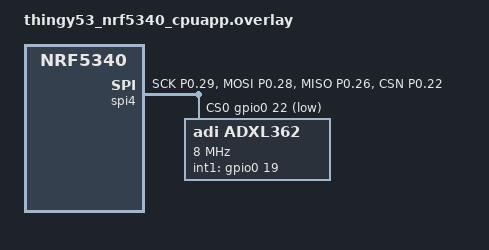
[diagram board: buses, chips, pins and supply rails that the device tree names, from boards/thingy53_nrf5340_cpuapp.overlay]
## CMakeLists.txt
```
# SPDX-License-Identifier: Apache-2.0

cmake_minimum_required(VERSION 3.20.0)

find_package(Zephyr REQUIRED HINTS $ENV{ZEPHYR_BASE})
project(adxl382_spim)

target_sources(app PRIVATE src/main.c)
```

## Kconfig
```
# Copyright (c) 2026
# SPDX-License-Identifier: Apache-2.0

DT_COMPAT_BOSCH_BMI270 := bosch,bmi270

menu "Sensor data-ready -> GPIOTE -> DPPI -> SPIM accelerometer reader"

choice APP_SENSOR
	prompt "Accelerometer on the SPI bus (chosen app,accel)"
	default APP_SENSOR_BMI270 if $(dt_compat_enabled,$(DT_COMPAT_BOSCH_BMI270))
	default APP_SENSOR_ADXL362

config APP_SENSOR_ADXL362
	bool "ADXL362 (Thingy:53)"

config APP_SENSOR_BMI270
	bool "BMI270 (nRF54L15 TAG)"

endchoice

config APP_SENSOR_ODR_HZ
	int "Sensor output data rate in Hz"
	default 400
	help
	  Rounded down to the nearest rate the sensor supports
	  (ADXL362: 12.5..400 Hz, BMI270: 25..1600 Hz). The data-ready pin
	  fires once per sample, so this is also the SPI transaction rate.

config APP_DRAIN_PERIOD_US
	int "Drain period in microseconds"
	default 10000
	range 100 1000000
	help
	  A thread wakes up every period, reads the EasyDMA pointer and pushes
	  the slots that arrived into the message queue; once per lap (every
	  APP_RING_SLOTS/2 samples or more) it also arms the ring wrap. The
	  actual period is rounded up to the kernel tick (plus one tick) and
	  the drain time is added to it. Delivery latency: at most that real
	  period when at most 4 samples arrive per drain (the drain waits one
	  transaction time so the newest one is complete); above that the
	  newest sample of each drain goes out on the next drain (real period
	  plus one sample period). Interrupts per second = 1 / period (wake-up)
	  + wraps.

config APP_RING_SLOTS
	int "Ring size in samples"
	default 256
	range 8 4096
	help
	  The wrap is armed once the DMA is past half of the ring, so the ring
	  must hold at least two drain periods of samples (ring >= 2 x rate x
	  period), plus slack for scheduling delay; 8 guard slots are added
	  after it and an overflow into them is counted.

config APP_PER_SAMPLE_IRQ
	bool "Deliver each sample from the SPIM END interrupt"
	default n
	help
	  One interrupt per transaction instead of the drain thread: a single
	  buffer, and the END ISR copies the sample that just ended into the
	  queue (latency = ISR entry + copy; ~1.2 us with the core awake, up to
	  ~15.5 us from idle on the nRF54L15 M33, ~26 us on the nRF5340). Valid
	  while the sample period exceeds the transaction time plus that entry
	  plus ~2 us (measured clean down to 40 us on both SoCs); a
	  transaction that starts during the copy is detected and the sample
	  dropped as "torn", one that starts before the ISR entry is not (the
	  data may then be mixed). No ring, no wrap; APP_DRAIN_PERIOD_US,
	  APP_RING_SLOTS and APP_WRAP_AWAKE_BELOW_US are unused.

config APP_WRAP_AWAKE_BELOW_US
	int "Wait awake for the wrap when the sample period is below this (us)"
	default 64
	range 0 10000
	depends on !APP_PER_SAMPLE_IRQ
	help
	  When the wrap is due and the recent samples were closer together than
	  this, the drain thread stays awake until the wrap ISR has run (at most
	  a quarter of the drain period or 8 sample periods) instead of going
	  back to sleep. Waking the core from idle for that IRQ costs up to
	  ~16.5 us on the nRF54L15 (RRAM) and ~24 us on the nRF5340, more than
	  one sample period at high rates. 0 disables the wait.

config APP_QUEUE_DEPTH
	int "Message queue depth in samples"
	default 256
	help
	  Must hold at least one drain's worth of samples plus the worst-case
	  consumer delay.

config APP_SPI_FREQ_HZ
	int "SPIM clock frequency in Hz"
	default 4000000

config APP_SPI_CSN_DURATION
	int "IFTIMING.CSNDUR: CSN-to-SCK delay and CSN inactive time, in SPIM core clock cycles"
	default 2
	range 1 255
	help
	  Reset value 2. nrfx raises it automatically only when it applies the
	  nRF54L errata 8 workaround (PRESCALER > 2); at higher SPI clocks it
	  may need a larger value so SCK is settled before the first edge.

config APP_SPI_RX_DELAY
	int "IFTIMING.RXDELAY: MISO sample delay (-1 = driver default)"
	default -1
	range -1 7
	help
	  Only on SPIM instances that have RXDELAY (nRF5340 SPIM4, nRF54L SPIMxx).

config APP_REPORT_PERIOD_MS
	int "Report period in milliseconds"
	default 1000

endmenu

source "Kconfig.zephyr"
```

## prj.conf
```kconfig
CONFIG_GPIO=y
CONFIG_PINCTRL=y
CONFIG_LOG=y
CONFIG_CBPRINTF_FP_SUPPORT=y

# nrfx 4.0 (NCS 3.4.x): per-driver symbols only; instances come from devicetree,
# the DPPI driver was replaced by the GPPI helper layer.
CONFIG_NRFX_GPIOTE=y
CONFIG_NRFX_SPIM=y
CONFIG_NRFX_GPPI=y

# The accelerometer bus is driven directly with nrfx: keep the Zephyr SPI and
# sensor drivers away from it.
CONFIG_SPI=n
CONFIG_SENSOR=n
CONFIG_MAIN_STACK_SIZE=4096
```

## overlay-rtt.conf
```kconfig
# Bench logging over SEGGER RTT (J-Link on the debug-out connector) instead of
# the board's USB CDC ACM console (Thingy:53). Boards without a console
# (nRF54L15 TAG) get the same settings from boards/<board>.conf.
CONFIG_BOARD_SERIAL_BACKEND_CDC_ACM=n
CONFIG_USB_DEVICE_STACK=n
CONFIG_USB_DEVICE_STACK_NEXT=n

CONFIG_USE_SEGGER_RTT=y
CONFIG_SEGGER_RTT_BUFFER_SIZE_UP=8192
CONFIG_RTT_CONSOLE=y
CONFIG_UART_CONSOLE=n
CONFIG_LOG_BACKEND_RTT=y
CONFIG_LOG_BACKEND_UART=n
CONFIG_LOG_BUFFER_SIZE=4096
# Never block the log thread when no host is draining RTT.
CONFIG_LOG_BACKEND_RTT_MODE_DROP=y
# Report lines carry several doubles; the default 768-byte log thread stack overflows (UsageFault STKOF)
CONFIG_LOG_PROCESS_THREAD_STACK_SIZE=2048
# Bench: synchronous logging (the deferred log thread stalled under the 64k sweep; see README)
CONFIG_LOG_MODE_IMMEDIATE=y
```

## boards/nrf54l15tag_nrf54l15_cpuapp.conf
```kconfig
# The TAG has no UART: log over SEGGER RTT (J-Link on the DK debug-out)
CONFIG_CONSOLE=y
CONFIG_USE_SEGGER_RTT=y
CONFIG_SEGGER_RTT_BUFFER_SIZE_UP=8192
CONFIG_RTT_CONSOLE=y
CONFIG_UART_CONSOLE=n
CONFIG_LOG_BACKEND_RTT=y
CONFIG_LOG_BACKEND_UART=n
CONFIG_LOG_BUFFER_SIZE=4096
CONFIG_LOG_BACKEND_RTT_MODE_DROP=y
CONFIG_I2C=n
# nRF54L15 errata 8 (SPIM, PRESCALER > 2, first bit 1): 8 MHz keeps PRESCALER = 2
CONFIG_APP_SPI_FREQ_HZ=8000000
# RXDELAY is in SPIM core clock cycles (16 MHz, 62.5 ns) on nRF54L; the reset
# value 2 = 125 ns = one full bit at 8 MHz, which samples the next bit.
CONFIG_APP_SPI_RX_DELAY=1
# Report lines carry several doubles; the default 768-byte log thread stack overflows (UsageFault STKOF)
CONFIG_LOG_PROCESS_THREAD_STACK_SIZE=2048
CONFIG_LOG_MODE_IMMEDIATE=y
CONFIG_NRFX_EGU20=y
CONFIG_ZERO_LATENCY_IRQS=y
```

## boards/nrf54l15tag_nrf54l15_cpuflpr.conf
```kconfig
# The TAG has no UART: log over SEGGER RTT (J-Link on the DK debug-out)
CONFIG_CONSOLE=y
CONFIG_USE_SEGGER_RTT=y
CONFIG_SEGGER_RTT_BUFFER_SIZE_UP=8192
CONFIG_RTT_CONSOLE=y
CONFIG_UART_CONSOLE=n
CONFIG_LOG_BACKEND_RTT=y
CONFIG_LOG_BACKEND_UART=n
CONFIG_LOG_BUFFER_SIZE=4096
CONFIG_LOG_BACKEND_RTT_MODE_DROP=y
CONFIG_I2C=n
# nRF54L15 errata 8 (SPIM, PRESCALER > 2, first bit 1): 8 MHz keeps PRESCALER = 2
CONFIG_APP_SPI_FREQ_HZ=8000000
# RXDELAY is in SPIM core clock cycles (16 MHz, 62.5 ns) on nRF54L; the reset
# value 2 = 125 ns = one full bit at 8 MHz, which samples the next bit.
CONFIG_APP_SPI_RX_DELAY=1
# Report lines carry several doubles; the default 768-byte log thread stack overflows (UsageFault STKOF)
CONFIG_LOG_PROCESS_THREAD_STACK_SIZE=2048
CONFIG_LOG_MODE_IMMEDIATE=y
```

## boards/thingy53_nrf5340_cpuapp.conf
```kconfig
# EGU used by the queue consumption mode (see app_dt.h) and zero-latency IRQ
# for the EasyDMA ring wrap.
CONFIG_NRFX_EGU0=y
CONFIG_ZERO_LATENCY_IRQS=y
```

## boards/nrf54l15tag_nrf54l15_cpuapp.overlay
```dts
/*
 * nRF54L15 TAG - BMI270 on spi22 (P1, PERI domain: same DPPI domain as
 * GPIOTE20 and TIMER2x, no PPIB needed). CSN is added to the board's pinctrl
 * group so the SPIM hardware chip select drives P1.07.
 */
/ {
	chosen {
		app,accel = &bmi270;
	};
};

&spi22_default {
	group1 {
		psels = <NRF_PSEL(SPIM_SCK, 1, 8)>,
			<NRF_PSEL(SPIM_MOSI, 1, 6)>,
			<NRF_PSEL(SPIM_MISO, 1, 5)>,
			<NRF_PSEL(SPIM_CSN, 1, 7)>;
	};
};

/* The other sensors share nothing with this test; keep their drivers out */
&adxl367 {
	status = "disabled";
};

&bme688 {
	status = "disabled";
};
```

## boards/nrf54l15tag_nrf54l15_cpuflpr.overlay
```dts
/*
 * nRF54L15 TAG, FLPR core - same wiring as the application core build:
 * BMI270 on spi22 (P1, PERI domain) with hardware CSN on P1.07. The board's
 * FLPR devicetree leaves spi22/bmi270 disabled, so enable them here (the
 * app drives SPIM22 with nrfx; no Zephyr SPI driver is involved).
 */
/ {
	chosen {
		app,accel = &bmi270;
	};
};

&spi22_default {
	group1 {
		psels = <NRF_PSEL(SPIM_SCK, 1, 8)>,
			<NRF_PSEL(SPIM_MOSI, 1, 6)>,
			<NRF_PSEL(SPIM_MISO, 1, 5)>,
			<NRF_PSEL(SPIM_CSN, 1, 7)>;
	};
};

&spi22 {
	status = "okay";
};

&bmi270 {
	status = "okay";
};
```

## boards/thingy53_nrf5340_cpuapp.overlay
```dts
/*
 * Thingy:53 - ADXL362. The board wires it to spi3 with a GPIO chip select;
 * on the nRF5340 only SPIM4 has hardware CSN, so the sensor is moved to a
 * spi4 node that uses the same pins plus CSN. Zephyr's SPI/sensor drivers
 * are disabled (CONFIG_SPI=n); the app drives SPIM4 with nrfx and applies
 * this node's pinctrl itself.
 */
/delete-node/ &adxl362;

/ {
	chosen {
		app,accel = &adxl362;
	};
};

&pinctrl {
	spi4_accel: spi4_accel {
		group1 {
			psels = <NRF_PSEL(SPIM_SCK, 0, 29)>,
				<NRF_PSEL(SPIM_MOSI, 0, 28)>,
				<NRF_PSEL(SPIM_MISO, 0, 26)>,
				<NRF_PSEL(SPIM_CSN, 0, 22)>;
		};
	};
};

&spi3 {
	status = "disabled";
};

&spi4 {
	status = "okay";
	pinctrl-0 = <&spi4_accel>;
	pinctrl-1 = <&spi4_accel>;
	pinctrl-names = "default", "sleep";
	cs-gpios = <&gpio0 22 GPIO_ACTIVE_LOW>;

	adxl362: adxl362@0 {
		compatible = "adi,adxl362";
		reg = <0>;
		spi-max-frequency = <8000000>;
		int1-gpios = <&gpio0 19 GPIO_ACTIVE_HIGH>;
	};
};
```

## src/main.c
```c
/*
 * gpiote_dppi_spim - accelerometer read started by its data-ready pin,
 * nRF Connect SDK v3.4.1
 *
 *   sensor INT pin --GPIOTE IN event--DPPI--> SPIM START
 *   SPIM (hardware CSN, EasyDMA, RX pointer post-increment) fills a ring;
 *   a drain thread moves the new slots to a k_msgq every APP_DRAIN_PERIOD_US.
 *
 * The board overlay selects sensor, bus and pins (see app_dt.h); Kconfig
 * selects the drain period and the ring size. This file only reports.
 */
#include <zephyr/kernel.h>
#include <zephyr/logging/log.h>

#include "sensor.h"
#include "spim_dppi.h"

LOG_MODULE_REGISTER(app, LOG_LEVEL_INF);

#define G_MS2 9.80665f

static float to_ms2(int16_t raw)
{
	return raw * sensor->mg_per_lsb * G_MS2 / 1000.0f;
}

/* Per-report window statistics */
struct stats {
	uint32_t n, fresh;
	int16_t zmin, zmax;
	int32_t zsum;
};

static void stats_reset(struct stats *s)
{
	s->n = s->fresh = 0;
	s->zmin = INT16_MAX;
	s->zmax = INT16_MIN;
	s->zsum = 0;
}

static struct stats win;

/* Drain the queue for one report period, then print the window statistics */
static void run_window(uint32_t *elapsed_ms)
{
	uint8_t raw[SENSOR_BURST_LEN];
	struct sensor_sample s;
	int64_t end = k_uptime_get() + CONFIG_APP_REPORT_PERIOD_MS;

	while (k_uptime_get() < end) {
		/* One sample per get, in order; the drain thread (or the END ISR) fills it */
		if (k_msgq_get(&sample_q, raw, K_MSEC(5)) != 0) {
			continue;
		}
		sensor->decode(raw, &s);
		win.n++;
		win.fresh += s.fresh;
		win.zmin = MIN(win.zmin, s.z);
		win.zmax = MAX(win.zmax, s.z);
		win.zsum += s.z;
	}
	*elapsed_ms += CONFIG_APP_REPORT_PERIOD_MS;
	LOG_INF("t=%u ms xfers=%u queued=%u fresh=%u dropped=%u late=%u ovf=%u torn=%u Z avg=%.2f min=%.2f max=%.2f m/s^2",
		*elapsed_ms, spim_dppi_total_xfers(), win.n, win.fresh,
		spim_dppi_dropped(), spim_dppi_late_wraps(), spim_dppi_overflows(), spim_dppi_torn(),
		win.n ? (double)to_ms2(win.zsum / (int32_t)win.n) : 0.0,
		win.n ? (double)to_ms2(win.zmin) : 0.0, win.n ? (double)to_ms2(win.zmax) : 0.0);
	stats_reset(&win);
}

int main(void)
{
	int err;
	uint32_t elapsed_ms = 0;

#if defined(CONFIG_APP_PER_SAMPLE_IRQ)
	LOG_INF("gpiote_dppi_spim: %s, trigger=data-ready pin, one interrupt per sample", sensor->name);
#else
	LOG_INF("gpiote_dppi_spim: %s, trigger=data-ready pin, drain every %u us", sensor->name,
		CONFIG_APP_DRAIN_PERIOD_US);
#endif

	err = spim_dppi_init();
	if (err) {
		LOG_ERR("init failed (%d)", err);
		return err;
	}
	LOG_INF("%s ODR %u.%u Hz", sensor->name, sensor_odr_hz_x10() / 10, sensor_odr_hz_x10() % 10);

	err = spim_dppi_start();
	if (err) {
		LOG_ERR("start failed (%d)", err);
		return err;
	}

	stats_reset(&win);
	while (1) {
		run_window(&elapsed_ms);
	}
	return 0;
}
```

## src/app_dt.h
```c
/*
 * Everything board specific comes from the devicetree, through chosen nodes
 * set by the board overlay:
 *   app,accel        the accelerometer node on its SPI bus (int1-gpios /
 *                    irq-gpios = data-ready pin, cs-gpios on the bus = CSN)
 */
#ifndef APP_DT_H_
#define APP_DT_H_

#include <zephyr/devicetree.h>
#include <zephyr/dt-bindings/gpio/gpio.h>

#define ACCEL_NODE      DT_CHOSEN(app_accel)
#define BUS_NODE        DT_BUS(ACCEL_NODE)


BUILD_ASSERT(DT_NODE_EXISTS(ACCEL_NODE), "chosen app,accel is missing in the board overlay");
BUILD_ASSERT(DT_NODE_HAS_PROP(BUS_NODE, cs_gpios), "the SPI bus needs cs-gpios (hardware CSN pin)");

/* Absolute nRF pin number (port * 32 + pin) of a gpio phandle-array entry */
#define NRF_PIN_ABS(node, prop) \
	(DT_PROP(DT_GPIO_CTLR(node, prop), port) * 32 + DT_GPIO_PIN(node, prop))

#define CS_PIN_ABS NRF_PIN_ABS(BUS_NODE, cs_gpios)

/* Data-ready pin: adi,adxl362 calls it int1-gpios, bosch,bmi270 irq-gpios */
#if DT_NODE_HAS_PROP(ACCEL_NODE, int1_gpios)
#define INT_GPIO_PROP int1_gpios
#elif DT_NODE_HAS_PROP(ACCEL_NODE, irq_gpios)
#define INT_GPIO_PROP irq_gpios
#else
#error "the chosen app,accel node needs int1-gpios or irq-gpios (data-ready pin)"
#endif

#define INT_PIN_ABS     NRF_PIN_ABS(ACCEL_NODE, INT_GPIO_PROP)
#define INT_ACTIVE_LOW  ((DT_GPIO_FLAGS(ACCEL_NODE, INT_GPIO_PROP) & GPIO_ACTIVE_LOW) != 0)
/* GPIOTE instance serving the port of the data-ready pin (gpiote-instance) */
#define INT_GPIOTE_NODE DT_PHANDLE(DT_GPIO_CTLR(ACCEL_NODE, INT_GPIO_PROP), gpiote_instance)

#endif /* APP_DT_H_ */
```

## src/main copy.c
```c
#include <zephyr/kernel.h>
#include <zephyr/logging/log.h>
#include <nrfx_spim.h>
#include <nrfx_gpiote.h>
#include <helpers/nrfx_gppi.h>
#include <hal/nrf_gpio.h>
#include <hal/nrf_gpiote.h>

LOG_MODULE_REGISTER(adxl382, LOG_LEVEL_DBG);

// SPI3 hardware instance
#define SPIM_INST NRFX_SPIM_INSTANCE(3)

// SPI CS pin
#define ADXL382_CS_PIN 22
#define ADXL382_INT_PIN 19
#define SPIM_SCK 29
#define SPIM_MOSI 28
#define SPIM_MISO 26

// Button SW0 pin for Thingy53
#define BUTTON_SW0_PIN  NRF_GPIO_PIN_MAP(1, 14)  // P1.14
#define LED0_PIN        NRF_GPIO_PIN_MAP(1, 8) // P1.8

// ADXL382 register address for DEVID (Chip ID)
#define ADXL362_CMD_WRITE_REG   0x0A
#define ADXL362_CMD_READ_REG    0x0B
#define ADXL362_REG_DEVID_AD    0x00

#define ADXL362_REG_POWER_CTL  0x2D
#define ADXL362_MEASURE_MODE   0x02

#define ADXL362_REG_XDATA_L   0x0E
#define ADXL362_REG_YDATA_L   0x10
#define ADXL362_REG_ZDATA_L   0x12

#define GRAVITY_M_S2 9.80665f

static const nrfx_spim_t spim = SPIM_INST;

// SPI transfer buffers for accelerometer reading
static uint8_t spi_tx_buf[8] = {
    ADXL362_CMD_READ_REG,
    ADXL362_REG_XDATA_L, // First register address
    0x00, 0x00, 0x00, 0x00, 0x00, 0x00 // Dummy
};
static uint8_t spi_rx_buf[8] = {0};

//Create semaphore for SPIM transfer
static K_SEM_DEFINE(spim_sem, 0, 1);


int prepare_spim_transfer(void);
// SPIM event handler - called when SPI transfer completes
static void spim_handler(nrfx_spim_evt_t const *p_event, void *p_context)
{

    if (p_event->type == NRFX_SPIM_EVENT_DONE) {

        k_sem_give(&spim_sem); // Signal that transfer is done
        // // Process the received accelerometer data
        // uint8_t axl = spi_rx_buf[2]; // X low byte
        // uint8_t axh = spi_rx_buf[3]; // X high byte
        // uint8_t ayl = spi_rx_buf[4]; // Y low byte
        // uint8_t ayh = spi_rx_buf[5]; // Y high byte
        // uint8_t azl = spi_rx_buf[6]; // Z low byte
        // uint8_t azh = spi_rx_buf[7]; // Z high byte

        // int16_t ax = ((int16_t)axh << 8) | axl;  // Combine bytes
        // float ax_mg = ax * 1.0f; // Convert to mg
        // float ax_ms2 = ax_mg * GRAVITY_M_S2 / 1000.0f; // Convert to m/s^2

        // int16_t ay = (int16_t)((ayh << 8) | ayl);  
        // float ay_mg = ay * 1.0f; // Convert to mg
        // float ay_ms2 = ay_mg * GRAVITY_M_S2 / 1000.0f; // Convert to m/s^2

        // int16_t az = (int16_t)((azh << 8) | azl);  
        // float az_mg = az * 1.0f; // Convert to mg
        // float az_ms2 = az_mg * GRAVITY_M_S2 / 1000.0f; // Convert to m/s^2

        // LOG_INF("SPIM task-triggered read complete!");
        // LOG_INF("Accel [m/s^2]: X=%.2f Y=%.2f Z=%.2f", (double)ax_ms2, (double)ay_ms2, (double)az_ms2);
        
        // // Deassert CS after transfer
        // nrf_gpio_pin_set(ADXL382_CS_PIN);
        
        // // Prepare the next transfer for the next button press
        // // Small delay to ensure proper timing
        // //k_busy_wait(100); // 100 microseconds
        // prepare_spim_transfer();
    }
}

int adxl362_read_reg(uint8_t reg, uint8_t *value)
{
    uint8_t tx_buf[3] = {
        ADXL362_CMD_READ_REG,
        reg,
        0x00 // Dummy
    };
    uint8_t rx_buf[3] = {0};

    // LOG_HEXDUMP_DBG(tx_buf, sizeof(tx_buf), "TX Buffer");
    // LOG_HEXDUMP_DBG(rx_buf, sizeof(rx_buf), "RX Buffer (before)");

    nrfx_spim_xfer_desc_t xfer = {
        .p_tx_buffer = tx_buf,
        .tx_length = sizeof(tx_buf),
        .p_rx_buffer = rx_buf,
        .rx_length = sizeof(rx_buf),
    };

    nrf_gpio_pin_clear(ADXL382_CS_PIN); // assert CS

    int ret = nrfx_spim_xfer(&spim, &xfer, 0);
    if (ret == NRFX_SUCCESS) {
        *value = rx_buf[2]; // O valor lido está na terceira posição
        LOG_DBG("*value = %xh", rx_buf[2]);
    }

    //k_sem_take(&spim_sem, K_FOREVER); // Wait for transfer to complete
    // LOG_HEXDUMP_DBG(rx_buf, sizeof(rx_buf), "RX Buffer (after)");
    nrf_gpio_pin_set(ADXL382_CS_PIN); // deassert CS
    return ret;
}


int adxl362_write_reg(uint8_t reg, uint8_t value)
{
    uint8_t tx_buf[3] = {
        ADXL362_CMD_WRITE_REG,
        reg,
        value
    };
    uint8_t rx_buf[3] = {0};

    nrfx_spim_xfer_desc_t xfer = {
        .p_tx_buffer = tx_buf,
        .tx_length = sizeof(tx_buf),
        .p_rx_buffer = rx_buf,
        .rx_length = sizeof(rx_buf),
    };

    // LOG_HEXDUMP_DBG(tx_buf, sizeof(tx_buf), "TX Buffer");
    // LOG_HEXDUMP_DBG(rx_buf, sizeof(rx_buf), "RX Buffer (before)");

    nrf_gpio_pin_clear(ADXL382_CS_PIN); // assert CS

    int ret = nrfx_spim_xfer(&spim, &xfer, 0);
    if (ret == NRFX_SUCCESS) {
        LOG_DBG("Wrote reg 0x%02X: 0x%02X", reg, value);
    }
    nrf_gpio_pin_set(ADXL382_CS_PIN); // deassert CS

    // LOG_HEXDUMP_DBG(rx_buf, sizeof(rx_buf), "RX Buffer (after)");

    return ret;
}

int adxl362_init()
{
 // Configure CS pin manually

     IRQ_CONNECT(NRFX_IRQ_NUMBER_GET(NRF_SPIM_INST_GET(3)), IRQ_PRIO_LOWEST,
                NRFX_SPIM_INST_HANDLER_GET(3), 0, 0);

    nrf_gpio_cfg_output(ADXL382_CS_PIN);
    nrf_gpio_pin_set(ADXL382_CS_PIN); // inactive

    nrfx_spim_config_t config = NRFX_SPIM_DEFAULT_CONFIG(SPIM_SCK,
                                                            SPIM_MOSI,
                                                            SPIM_MISO,
                                                            NRF_SPIM_PIN_NOT_CONNECTED);
    
	nrfx_err_t err = nrfx_spim_init(&spim, &config, spim_handler, NULL);
    //nrfx_err_t err = nrfx_spim_init(&spim, &config, NULL, NULL);
	if (err != NRFX_SUCCESS) {
		LOG_WRN("Failed to init SPIM, error: 0x%08X", err);
		return -1;
	}
    LOG_INF("ADXL362 SPI initialized successfully");

    // Configure INT pin
    nrf_gpio_cfg_input(ADXL382_INT_PIN, NRF_GPIO_PIN_PULLUP);
    LOG_INF("ADXL362 INT pin configured");

    return 0;
}


// Button event handler
static void button_handler(nrfx_gpiote_pin_t pin,
                          nrfx_gpiote_trigger_t trigger,
                          void *context)
{
    LOG_INF("Button SW0 pressed - triggering accel read");
}

// Function to read accelerometer data
int prepare_spim_transfer(void)
{
    
    // LOG_HEXDUMP_DBG(spi_tx_buf, sizeof(spi_tx_buf), "TX Buffer");
	
    // Assert CS before transfer
    nrf_gpio_pin_clear(ADXL382_CS_PIN);

    nrfx_spim_xfer_desc_t xfer = {
        .p_tx_buffer = spi_tx_buf,
        .tx_length = sizeof(spi_tx_buf),
        .p_rx_buffer = spi_rx_buf,
        .rx_length = sizeof(spi_rx_buf),
    };

    // Configure the transfer
    nrfx_err_t err = nrfx_spim_xfer(&spim, &xfer, NRFX_SPIM_FLAG_HOLD_XFER);
    if (err != NRFX_SUCCESS) {
        LOG_ERR("Failed to prepare SPIM transfer (err 0x%08X)", err);
        nrf_gpio_pin_set(ADXL382_CS_PIN); // Release CS on error
        return -1;
    }
    
    LOG_DBG("SPIM transfer prepared and ready for task trigger");
    return 0;
}

// Function to initialize button
int button_init(void)
{
    nrfx_err_t err;
    uint8_t in_channel;
    static const nrfx_gpiote_t gpiote = NRFX_GPIOTE_INSTANCE(0);

    // Initialize GPIOTE if not already done
    #if !defined(CONFIG_GPIO)
    err = nrfx_gpiote_init(&gpiote, 0);
    if (err != NRFX_SUCCESS) {
        LOG_ERR("Failed to initialize GPIOTE (err 0x%08X)", err);
        return -1;
    }
    #endif

    // Allocate a channel for the input pin
    err = nrfx_gpiote_channel_alloc(&gpiote, &in_channel);
    if (err != NRFX_SUCCESS) {
        LOG_ERR("Failed to allocate channel (err 0x%08X)", err);
        return -1;
    }

    // Configure button pin
    static const nrf_gpio_pin_pull_t pull_config = NRF_GPIO_PIN_PULLUP;
    nrfx_gpiote_trigger_config_t trigger_config = {
        .trigger = NRFX_GPIOTE_TRIGGER_HITOLO, // Button press (high to low)
        .p_in_channel = &in_channel,
    };
    static const nrfx_gpiote_handler_config_t handler_config = {
        .handler = button_handler,
    };
    nrfx_gpiote_input_pin_config_t input_config = {
        .p_pull_config    = &pull_config,
        .p_trigger_config = &trigger_config,
        .p_handler_config = &handler_config
    };

    err = nrfx_gpiote_input_configure(&gpiote, BUTTON_SW0_PIN, &input_config);
    if (err != NRFX_SUCCESS) {
        LOG_ERR("Failed to configure button pin (err 0x%08X)", err);
        return -1;
    }

    // Enable the input trigger
    nrfx_gpiote_trigger_enable(&gpiote, BUTTON_SW0_PIN, true);

    LOG_INF("Button SW0 initialized");
    return 0;
}


int led_init(void)
{
	nrfx_err_t err;
    uint8_t out_channel;
    static const nrfx_gpiote_t gpiote = NRFX_GPIOTE_INSTANCE(0);

	/* Allocate a channel for the output pin */
	err = nrfx_gpiote_channel_alloc(&gpiote, &out_channel);
	if (err != NRFX_SUCCESS) {
		LOG_ERR("Failed to allocate out_channel, error: 0x%08X", err);
		return err;
	}

	static const nrfx_gpiote_output_config_t output_config = {
		.drive         = NRF_GPIO_PIN_S0S1,
		.input_connect = NRF_GPIO_PIN_INPUT_DISCONNECT,
		.pull          = NRF_GPIO_PIN_NOPULL,
	};
	const nrfx_gpiote_task_config_t task_config = {
		.task_ch  = out_channel,
		.polarity = NRF_GPIOTE_POLARITY_TOGGLE,
		.init_val = 1,
	};

	err = nrfx_gpiote_output_configure(&gpiote, LED0_PIN, &output_config,
					   &task_config);
	if (err != NRFX_SUCCESS) {
		LOG_ERR("nrfx_gpiote_output_configure error: 0x%08X", err);
		return err;
	}

	/* Enable the output task */
	nrfx_gpiote_out_task_enable(&gpiote, LED0_PIN);
	return NRFX_SUCCESS;
}

int configure_dppi(void)
{
	nrfx_err_t err;
	uint8_t ppi_channel;
    static const nrfx_gpiote_t gpiote = NRFX_GPIOTE_INSTANCE(0);

	/* Allocate a DPPI channel */
	err = nrfx_gppi_channel_alloc(&ppi_channel);
	if (err != NRFX_SUCCESS) {
		LOG_ERR("nrfx_gppi_channel_alloc error: 0x%08X", err);
		return err;
	}

	/* Setup endpoints so that the input pin event triggers the output pin task */
	nrfx_gppi_channel_endpoints_setup(ppi_channel,
		nrfx_gpiote_in_event_address_get(&gpiote, BUTTON_SW0_PIN),
		nrfx_gpiote_out_task_address_get(&gpiote, LED0_PIN));

    //nrfx_gppi_task_endpoint_setup(ppi_channel, nrfx_spim_start_task_address_get(&spim));
	/* Enable the DPPI channel */
	nrfx_gppi_channels_enable(BIT(ppi_channel));
    LOG_INF("DPPI configured: Button SW0 -> LED0 toggle");
	return NRFX_SUCCESS;
}


int main(void)
{

    int ret;
    uint8_t devid = 0;

    LOG_INF("Starting ADXL382 SPI test");

    adxl362_init();

    ret = adxl362_read_reg(ADXL362_REG_DEVID_AD, &devid);
    if (ret == NRFX_SUCCESS) {
        LOG_INF("ADXL362 Device ID: 0x%02X", devid);
        if (devid != 0xAD) {
            LOG_WRN("Unexpected device ID!");
        }
    } else {
        LOG_ERR("Failed to read from ADXL362 (err %d)", ret);
    }

    ret = adxl362_write_reg(ADXL362_REG_POWER_CTL, ADXL362_MEASURE_MODE);
    if (ret == NRFX_SUCCESS) {
        LOG_INF("Measurement mode enabled");
        k_msleep(10);  // Pequeno delay para o sensor estabilizar
    } else {
        LOG_ERR("Failed to set measurement mode");
    }

    uint8_t power_ctl;
    adxl362_read_reg(ADXL362_REG_POWER_CTL, &power_ctl);
    LOG_INF("POWER_CTL = 0x%02X", power_ctl);

    // Initialize button
    ret = button_init();
    if (ret != 0) {
        LOG_ERR("Failed to initialize button");
        return ret;
    }

    ret = led_init();
    if (ret != NRFX_SUCCESS) {
        LOG_ERR("Failed to initialize LED");
        return ret;
    }

    //prepare_spim_transfer();

    ret = configure_dppi();
    if (ret != NRFX_SUCCESS) {
        LOG_ERR("Failed to configure DPPI");
        return ret;
    }

    LOG_INF("System ready. Press SW0 button to read accelerometer data");

	return 0;
}
```

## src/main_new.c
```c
#include <zephyr/kernel.h>
#include <zephyr/logging/log.h>
#include <nrfx_spim.h>
#include <nrfx_gpiote.h>
#include <helpers/nrfx_gppi.h>
#include <hal/nrf_gpio.h>
#include <hal/nrf_gpiote.h>
#include <string.h>

LOG_MODULE_REGISTER(adxl382, LOG_LEVEL_INF);

// SPI3 hardware instance
#define SPIM_INST NRFX_SPIM_INSTANCE(3)

// SPI CS pin
#define ADXL382_CS_PIN 22
#define ADXL382_INT_PIN 19
#define SPIM_SCK 29
#define SPIM_MOSI 28
#define SPIM_MISO 26

// Button SW0 pin for Thingy53
#define BUTTON_SW0_PIN  NRF_GPIO_PIN_MAP(1, 14)  // P1.14
#define LED0_PIN        NRF_GPIO_PIN_MAP(1, 8) // P1.8

// ADXL382 register address for DEVID (Chip ID)
#define ADXL362_CMD_WRITE_REG   0x0A
#define ADXL362_CMD_READ_REG    0x0B
#define ADXL362_REG_DEVID_AD    0x00

#define ADXL362_REG_POWER_CTL  0x2D
#define ADXL362_MEASURE_MODE   0x02

#define ADXL362_REG_XDATA_L   0x0E
#define ADXL362_REG_YDATA_L   0x10
#define ADXL362_REG_ZDATA_L   0x12

#define GRAVITY_M_S2 9.80665f

static const nrfx_spim_t spim = SPIM_INST;

// Global variable to track button press
static volatile bool button_pressed = false;

// SPI transfer buffers for accelerometer reading
static uint8_t spi_tx_buf[8] = {
    ADXL362_CMD_READ_REG,
    ADXL362_REG_XDATA_L, // First register address
    0x00, 0x00, 0x00, 0x00, 0x00, 0x00 // Dummy
};
static uint8_t spi_rx_buf[8] = {0};

int prepare_spim_transfer(void);

// SPIM event handler - called when SPI transfer completes
static void spim_handler(nrfx_spim_evt_t const *p_event, void *p_context)
{
    if (p_event->type == NRFX_SPIM_EVENT_DONE) {
        // Process the received accelerometer data
        uint8_t axl = spi_rx_buf[2]; // X low byte
        uint8_t axh = spi_rx_buf[3]; // X high byte
        uint8_t ayl = spi_rx_buf[4]; // Y low byte
        uint8_t ayh = spi_rx_buf[5]; // Y high byte
        uint8_t azl = spi_rx_buf[6]; // Z low byte
        uint8_t azh = spi_rx_buf[7]; // Z high byte

        int16_t ax = ((int16_t)axh << 8) | axl;  // Combine bytes
        float ax_mg = ax * 1.0f; // Convert to mg
        float ax_ms2 = ax_mg * GRAVITY_M_S2 / 1000.0f; // Convert to m/s^2

        int16_t ay = (int16_t)((ayh << 8) | ayl);  
        float ay_mg = ay * 1.0f; // Convert to mg
        float ay_ms2 = ay_mg * GRAVITY_M_S2 / 1000.0f; // Convert to m/s^2

        int16_t az = (int16_t)((azh << 8) | azl);  
        float az_mg = az * 1.0f; // Convert to mg
        float az_ms2 = az_mg * GRAVITY_M_S2 / 1000.0f; // Convert to m/s^2

        LOG_INF("SPIM task-triggered read complete!");
        LOG_INF("Accel [m/s^2]: X=%.2f Y=%.2f Z=%.2f", (double)ax_ms2, (double)ay_ms2, (double)az_ms2);
        
        // Deassert CS after transfer
        nrf_gpio_pin_set(ADXL382_CS_PIN);
        
        // Prepare the next transfer for the next button press
        // Small delay to ensure proper timing
        k_busy_wait(100); // 100 microseconds
        prepare_spim_transfer();
    }
}

int adxl362_read_reg(uint8_t reg, uint8_t *value)
{
    uint8_t tx_buf[3] = {
        ADXL362_CMD_READ_REG,
        reg,
        0x00 // Dummy
    };
    uint8_t rx_buf[3] = {0};

    LOG_HEXDUMP_DBG(tx_buf, sizeof(tx_buf), "TX Buffer");
    LOG_HEXDUMP_DBG(rx_buf, sizeof(rx_buf), "RX Buffer (before)");

    nrfx_spim_xfer_desc_t xfer = {
        .p_tx_buffer = tx_buf,
        .tx_length = sizeof(tx_buf),
        .p_rx_buffer = rx_buf,
        .rx_length = sizeof(rx_buf),
    };

    nrf_gpio_pin_clear(ADXL382_CS_PIN); // assert CS

    int ret = nrfx_spim_xfer(&spim, &xfer, 0);
    if (ret == NRFX_SUCCESS) {
        *value = rx_buf[2]; // O valor lido está na terceira posição
        LOG_DBG("*value = %xh", rx_buf[2]);
    }
    LOG_HEXDUMP_DBG(rx_buf, sizeof(rx_buf), "RX Buffer (after)");
    nrf_gpio_pin_set(ADXL382_CS_PIN); // deassert CS
    return ret;
}


int adxl362_write_reg(uint8_t reg, uint8_t value)
{
    uint8_t tx_buf[3] = {
        ADXL362_CMD_WRITE_REG,
        reg,
        value
    };
    uint8_t rx_buf[3] = {0};

    nrfx_spim_xfer_desc_t xfer = {
        .p_tx_buffer = tx_buf,
        .tx_length = sizeof(tx_buf),
        .p_rx_buffer = rx_buf,
        .rx_length = sizeof(rx_buf),
    };

    LOG_HEXDUMP_DBG(tx_buf, sizeof(tx_buf), "TX Buffer");
    LOG_HEXDUMP_DBG(rx_buf, sizeof(rx_buf), "RX Buffer (before)");

    nrf_gpio_pin_clear(ADXL382_CS_PIN); // assert CS

    int ret = nrfx_spim_xfer(&spim, &xfer, 0);
    if (ret == NRFX_SUCCESS) {
        LOG_DBG("Wrote reg 0x%02X: 0x%02X", reg, value);
    }
    nrf_gpio_pin_set(ADXL382_CS_PIN); // deassert CS

    LOG_HEXDUMP_DBG(rx_buf, sizeof(rx_buf), "RX Buffer (after)");

    return ret;
}

int adxl362_init()
{
 // Configure CS pin manually
    nrf_gpio_cfg_output(ADXL382_CS_PIN);
    nrf_gpio_pin_set(ADXL382_CS_PIN); // inactive

    nrfx_spim_config_t config = NRFX_SPIM_DEFAULT_CONFIG(SPIM_SCK,
                                                            SPIM_MOSI,
                                                            SPIM_MISO,
                                                            NRF_SPIM_PIN_NOT_CONNECTED);

	nrfx_err_t err = nrfx_spim_init(&spim, &config, spim_handler, NULL);
	if (err != NRFX_SUCCESS) {
		LOG_WRN("Failed to init SPIM, error: 0x%08X", err);
		return -1;
	}
    LOG_INF("ADXL362 SPI initialized successfully with event handler");

    // Configure INT pin
    nrf_gpio_cfg_input(ADXL382_INT_PIN, NRF_GPIO_PIN_PULLUP);
    LOG_INF("ADXL362 INT pin configured");

    return 0;
}


// Function to prepare SPIM transfer for task triggering
int prepare_spim_transfer(void)
{
    // Clear receive buffer
    memset(spi_rx_buf, 0, sizeof(spi_rx_buf));
    
    // Assert CS before transfer
    nrf_gpio_pin_clear(ADXL382_CS_PIN);
    
    // Set up the SPI transfer descriptor
    nrfx_spim_xfer_desc_t xfer_desc = {
        .p_tx_buffer = spi_tx_buf,
        .tx_length = sizeof(spi_tx_buf),
        .p_rx_buffer = spi_rx_buf,
        .rx_length = sizeof(spi_rx_buf),
    };
    
    // Configure the transfer - it will be started by the SPIM start task
    nrfx_err_t err = nrfx_spim_xfer(&spim, &xfer_desc, 0);
    if (err != NRFX_SUCCESS) {
        LOG_ERR("Failed to prepare SPIM transfer (err 0x%08X)", err);
        nrf_gpio_pin_set(ADXL382_CS_PIN); // Release CS on error
        return -1;
    }
    
    LOG_DBG("SPIM transfer prepared and ready for task trigger");
    return 0;
}

// Button event handler
static void button_handler(nrfx_gpiote_pin_t pin,
                          nrfx_gpiote_trigger_t trigger,
                          void *context)
{
    button_pressed = true;
    LOG_INF("Button SW0 pressed - GPIOTE event will trigger LED + SPIM via GPPI!");
}


// Function to initialize button
int button_init(void)
{
    nrfx_err_t err;
    uint8_t in_channel;
    static const nrfx_gpiote_t gpiote = NRFX_GPIOTE_INSTANCE(0);

    // Initialize GPIOTE if not already done
    #if !defined(CONFIG_GPIO)
    err = nrfx_gpiote_init(&gpiote, 0);
    if (err != NRFX_SUCCESS) {
        LOG_ERR("Failed to initialize GPIOTE (err 0x%08X)", err);
        return -1;
    }
    #endif

    // Allocate a channel for the input pin
    err = nrfx_gpiote_channel_alloc(&gpiote, &in_channel);
    if (err != NRFX_SUCCESS) {
        LOG_ERR("Failed to allocate channel (err 0x%08X)", err);
        return -1;
    }

    // Configure button pin
    static const nrf_gpio_pin_pull_t pull_config = NRF_GPIO_PIN_PULLUP;
    nrfx_gpiote_trigger_config_t trigger_config = {
        .trigger = NRFX_GPIOTE_TRIGGER_HITOLO, // Button press (high to low)
        .p_in_channel = &in_channel,
    };
    static const nrfx_gpiote_handler_config_t handler_config = {
        .handler = button_handler,
    };
    nrfx_gpiote_input_pin_config_t input_config = {
        .p_pull_config    = &pull_config,
        .p_trigger_config = &trigger_config,
        .p_handler_config = &handler_config
    };

    err = nrfx_gpiote_input_configure(&gpiote, BUTTON_SW0_PIN, &input_config);
    if (err != NRFX_SUCCESS) {
        LOG_ERR("Failed to configure button pin (err 0x%08X)", err);
        return -1;
    }

    // Enable the input trigger
    nrfx_gpiote_trigger_enable(&gpiote, BUTTON_SW0_PIN, true);

    LOG_INF("Button SW0 initialized");
    return 0;
}


int led_init(void)
{
	nrfx_err_t err;
    uint8_t out_channel;
    static const nrfx_gpiote_t gpiote = NRFX_GPIOTE_INSTANCE(0);

	/* Allocate a channel for the output pin */
	err = nrfx_gpiote_channel_alloc(&gpiote, &out_channel);
	if (err != NRFX_SUCCESS) {
		LOG_ERR("Failed to allocate out_channel, error: 0x%08X", err);
		return err;
	}

	static const nrfx_gpiote_output_config_t output_config = {
		.drive         = NRF_GPIO_PIN_S0S1,
		.input_connect = NRF_GPIO_PIN_INPUT_DISCONNECT,
		.pull          = NRF_GPIO_PIN_NOPULL,
	};
	const nrfx_gpiote_task_config_t task_config = {
		.task_ch  = out_channel,
		.polarity = NRF_GPIOTE_POLARITY_TOGGLE,
		.init_val = 1,
	};

	err = nrfx_gpiote_output_configure(&gpiote, LED0_PIN, &output_config,
					   &task_config);
	if (err != NRFX_SUCCESS) {
		LOG_ERR("nrfx_gpiote_output_configure error: 0x%08X", err);
		return err;
	}

	/* Enable the output task */
	nrfx_gpiote_out_task_enable(&gpiote, LED0_PIN);
	return NRFX_SUCCESS;
}

int configure_dppi(void)
{
	nrfx_err_t err;
	uint8_t ppi_channel_led, ppi_channel_spim;
    static const nrfx_gpiote_t gpiote = NRFX_GPIOTE_INSTANCE(0);

	/* Allocate first DPPI channel for LED toggle */
	err = nrfx_gppi_channel_alloc(&ppi_channel_led);
	if (err != NRFX_SUCCESS) {
		LOG_ERR("nrfx_gppi_channel_alloc (LED) error: 0x%08X", err);
		return err;
	}

	/* Allocate second DPPI channel for SPIM start task */
	err = nrfx_gppi_channel_alloc(&ppi_channel_spim);
	if (err != NRFX_SUCCESS) {
		LOG_ERR("nrfx_gppi_channel_alloc (SPIM) error: 0x%08X", err);
		return err;
	}

	/* Setup first connection: button press -> LED toggle */
	nrfx_gppi_channel_endpoints_setup(ppi_channel_led,
		nrfx_gpiote_in_event_address_get(&gpiote, BUTTON_SW0_PIN),
		nrfx_gpiote_out_task_address_get(&gpiote, LED0_PIN));

	/* Setup second connection: button press -> SPIM start task */
	nrfx_gppi_channel_endpoints_setup(ppi_channel_spim,
		nrfx_gpiote_in_event_address_get(&gpiote, BUTTON_SW0_PIN),
		nrfx_spim_start_task_address_get(&spim));

	/* Enable both DPPI channels */
	nrfx_gppi_channels_enable(BIT(ppi_channel_led) | BIT(ppi_channel_spim));
	
    LOG_INF("DPPI configured: Button SW0 -> LED0 toggle + SPIM start task");
    LOG_INF("GPPI channel %d: Button -> LED", ppi_channel_led);
    LOG_INF("GPPI channel %d: Button -> SPIM", ppi_channel_spim);
	return NRFX_SUCCESS;
}


int main(void)
{

    int ret;
    uint8_t devid = 0;

    LOG_INF("Starting ADXL382 SPI test");

    adxl362_init();

    ret = adxl362_read_reg(ADXL362_REG_DEVID_AD, &devid);
    if (ret == NRFX_SUCCESS) {
        LOG_INF("ADXL362 Device ID: 0x%02X", devid);
        if (devid != 0xAD) {
            LOG_WRN("Unexpected device ID!");
        }
    } else {
        LOG_ERR("Failed to read from ADXL362 (err %d)", ret);
    }

    ret = adxl362_write_reg(ADXL362_REG_POWER_CTL, ADXL362_MEASURE_MODE);
    if (ret == NRFX_SUCCESS) {
        LOG_INF("Measurement mode enabled");
        k_msleep(10);  // Pequeno delay para o sensor estabilizar
    } else {
        LOG_ERR("Failed to set measurement mode");
    }

    uint8_t power_ctl;
    adxl362_read_reg(ADXL362_REG_POWER_CTL, &power_ctl);
    LOG_INF("POWER_CTL = 0x%02X", power_ctl);

    // Initialize button
    ret = button_init();
    if (ret != 0) {
        LOG_ERR("Failed to initialize button");
        return ret;
    }

    ret = led_init();
    if (ret != NRFX_SUCCESS) {
        LOG_ERR("Failed to initialize LED");
        return ret;
    }

    // ret = configure_dppi();
    // if (ret != NRFX_SUCCESS) {
    //     LOG_ERR("Failed to configure DPPI");
    //     return ret;
    // }

    // // Prepare the initial SPIM transfer that will be triggered by button press
    // ret = prepare_spim_transfer();
    // if (ret != 0) {
    //     LOG_ERR("Failed to prepare initial SPIM transfer");
    //     return ret;
    // }

    LOG_INF("System ready. Press SW0 button to trigger LED toggle + accelerometer read");
    LOG_INF("Hardware event chain: Button -> GPIOTE -> GPPI -> [LED Toggle + SPIM Start] -> SPI Transfer -> Data Processing");

    while (1) {
        // The system now works through hardware events:
        // 1. Button press generates GPIOTE event
        // 2. GPIOTE event triggers TWO tasks via separate GPPI channels:
        //    a) LED toggle task
        //    b) SPIM start task
        // 3. SPIM transfer completes and calls event handler
        // 4. Event handler processes data and prepares next transfer
        
        // Keep track of button presses for logging purposes
        if (button_pressed) {
            button_pressed = false;
            LOG_DBG("Button press handled by hardware - LED toggled and SPIM started");
        }
        
        k_msleep(100); // Keep the system alive
    }

	return 0;
}
```

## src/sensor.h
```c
/*
 * Minimal accelerometer backend interface. A backend only knows how to
 * configure its sensor over SPI (blocking transfers, at init) and how to
 * describe/decode the burst read that the hardware repeats afterwards.
 */
#ifndef SENSOR_H_
#define SENSOR_H_

#include <stdbool.h>
#include <stddef.h>
#include <stdint.h>

/* Length of one burst transaction (bytes clocked = bytes received) */
#if defined(CONFIG_APP_SENSOR_ADXL362)
#define SENSOR_BURST_LEN 11   /* cmd, addr, STATUS, FIFO_L, FIFO_H, X/Y/Z L+H */
#elif defined(CONFIG_APP_SENSOR_BMI270)
#define SENSOR_BURST_LEN 17   /* addr, dummy, STATUS(0x03) .. ACC_Z_MSB(0x11) */
#else
#error "select a sensor backend"
#endif

struct sensor_sample {
	int16_t x, y, z;   /* raw counts */
	bool fresh;        /* data-ready bit was set in this burst */
};

struct sensor_ops {
	const char *name;
	/* Full sensor bring-up over blocking SPI transfers; returns errno */
	int (*init)(void);
	/* Route data-ready to the interrupt pin used by the trigger */
	int (*enable_drdy_int)(void);
	/* Burst read descriptor: TX prefix and total transaction length */
	const uint8_t *burst_tx;
	size_t burst_tx_len;
	/* Decode one received burst into a sample */
	void (*decode)(const uint8_t *rx, struct sensor_sample *out);
	/* Data-ready bit inside the raw burst (for the ISR-side filter) */
	uint8_t fresh_offset;
	uint8_t fresh_mask;
	/* Scale of the raw counts, in mg per LSB (for the report) */
	float mg_per_lsb;
};

extern const struct sensor_ops *const sensor;

/* Effective ODR after rounding APP_SENSOR_ODR_HZ, in Hz x10 (keeps 12.5) */
uint16_t sensor_odr_hz_x10(void);

/* Blocking SPI helpers provided by spim_dppi.c for the backends' init code */
int spim_xfer_blocking(const uint8_t *tx, size_t tx_len, uint8_t *rx, size_t rx_len);

#endif /* SENSOR_H_ */
```

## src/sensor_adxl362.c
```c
/* ADXL362 backend (Thingy:53). SPI: command byte, address, data; no dummy. */
#include <errno.h>
#include <zephyr/kernel.h>
#include <zephyr/logging/log.h>

#include "sensor.h"

LOG_MODULE_REGISTER(adxl362, LOG_LEVEL_INF);

#define CMD_WRITE_REG   0x0A
#define CMD_READ_REG    0x0B

#define REG_DEVID_AD    0x00
#define REG_PARTID      0x02
#define REG_STATUS      0x0B   /* bit0 DATA_READY, cleared when data regs are read */
#define REG_XDATA_L     0x0E
#define REG_INTMAP1     0x2A
#define REG_FILTER_CTL  0x2C
#define REG_POWER_CTL   0x2D

#define DEVID_AD        0xAD
#define PARTID          0xF2
#define INTMAP1_DATA_READY 0x01
#define POWER_CTL_MEASURE  0x02
#define RANGE_2G        0x00
#define STATUS_DATA_READY 0x01

/*
 * Burst: read STATUS..ZDATA_H in one transaction. STATUS comes first so the
 * DATA_READY bit tells whether this burst carries a new sample (it is cleared
 * by the data-register read that follows in the same transaction).
 *   rx[0..1]  clocked while sending cmd/addr (ignored)
 *   rx[2]     STATUS
 *   rx[3..4]  FIFO_ENTRIES_L/H (ignored)
 *   rx[5..10] XDATA_L/H, YDATA_L/H, ZDATA_L/H
 */
static const uint8_t burst_tx[2] = { CMD_READ_REG, REG_STATUS };
BUILD_ASSERT(SENSOR_BURST_LEN == 11);

static int reg_read(uint8_t reg, uint8_t *val)
{
	uint8_t tx[3] = { CMD_READ_REG, reg, 0x00 };
	uint8_t rx[3];
	int err = spim_xfer_blocking(tx, sizeof(tx), rx, sizeof(rx));

	*val = rx[2];
	return err;
}

static int reg_write(uint8_t reg, uint8_t val)
{
	uint8_t tx[3] = { CMD_WRITE_REG, reg, val };

	return spim_xfer_blocking(tx, sizeof(tx), NULL, 0);
}

/* ODR code and effective rate (x10) for FILTER_CTL[2:0] */
struct odr_entry { uint16_t hz_x10; uint8_t code; };
static const struct odr_entry odr_table[] = {
	{ 4000, 5 }, { 2000, 4 }, { 1000, 3 }, { 500, 2 }, { 250, 1 }, { 125, 0 },
};

static uint16_t odr_hz_x10;

static int adxl362_init(void)
{
	uint8_t id, v;
	int err;

	err = reg_read(REG_DEVID_AD, &id);
	if (err) {
		return err;
	}
	if (id != DEVID_AD) {
		LOG_ERR("DEVID_AD = 0x%02X, expected 0x%02X", id, DEVID_AD);
		return -ENODEV;
	}
	reg_read(REG_PARTID, &v);
	LOG_INF("ADXL362 DEVID_AD 0x%02X PARTID 0x%02X", id, v);

	/* ODR: nearest supported rate not above the requested one */
	const struct odr_entry *sel = &odr_table[ARRAY_SIZE(odr_table) - 1];

	for (size_t i = 0; i < ARRAY_SIZE(odr_table); i++) {
		if (odr_table[i].hz_x10 <= CONFIG_APP_SENSOR_ODR_HZ * 10) {
			sel = &odr_table[i];
			break;
		}
	}
	odr_hz_x10 = sel->hz_x10;

	/* The sensor keeps its registers across MCU resets: always write them */
	err = reg_write(REG_FILTER_CTL, RANGE_2G | sel->code);
	if (err) {
		return err;
	}
	err = reg_write(REG_POWER_CTL, POWER_CTL_MEASURE);
	if (err) {
		return err;
	}
	k_msleep(50);

	reg_read(REG_FILTER_CTL, &v);
	LOG_INF("FILTER_CTL 0x%02X (+/-2 g, ODR %u.%u Hz)", v, odr_hz_x10 / 10, odr_hz_x10 % 10);
	reg_read(REG_POWER_CTL, &v);
	LOG_INF("POWER_CTL 0x%02X (%s)", v, (v & 0x03) == POWER_CTL_MEASURE ? "measurement" : "NOT measuring");
	return 0;
}

static int adxl362_enable_drdy_int(void)
{
	uint8_t v;
	int err = reg_write(REG_INTMAP1, INTMAP1_DATA_READY);

	if (err) {
		return err;
	}
	reg_read(REG_INTMAP1, &v);
	reg_read(REG_STATUS, &v);
	/* DATA_READY is a level: high until the data registers are read */
	LOG_INF("INTMAP1 = DATA_READY on INT1 (active high); STATUS 0x%02X", v);
	return 0;
}

static void adxl362_decode(const uint8_t *rx, struct sensor_sample *out)
{
	out->fresh = (rx[2] & STATUS_DATA_READY) != 0;
	out->x = (int16_t)((rx[6] << 8) | rx[5]);
	out->y = (int16_t)((rx[8] << 8) | rx[7]);
	out->z = (int16_t)((rx[10] << 8) | rx[9]);
}

static struct sensor_ops ops = {
	.name = "ADXL362",
	.init = adxl362_init,
	.enable_drdy_int = adxl362_enable_drdy_int,
	.burst_tx = burst_tx,
	.burst_tx_len = sizeof(burst_tx),
	.decode = adxl362_decode,
	.fresh_offset = 2,
	.fresh_mask = STATUS_DATA_READY,
	.mg_per_lsb = 1.0f,    /* +/-2 g range */
};

const struct sensor_ops *const sensor = &ops;

uint16_t sensor_odr_hz_x10(void)
{
	return odr_hz_x10;
}
```

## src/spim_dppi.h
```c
/*
 * Hardware engine: SPIM with hardware CSN, repeated EasyDMA burst started
 * through DPPI by the GPIOTE IN event of the sensor's data-ready pin. The
 * bursts land in a ring (RX pointer post-increment); a periodic drain thread
 * moves them into a k_msgq and, once per lap, re-arms the ring wrap on the
 * SPIM READY IRQ.
 * With APP_PER_SAMPLE_IRQ there is one buffer instead and the SPIM END ISR
 * copies each burst into the k_msgq.
 */
#ifndef SPIM_DPPI_H_
#define SPIM_DPPI_H_

#include <stdint.h>
#include <zephyr/kernel.h>

#include "sensor.h"

/* Bring up SPIM (pinctrl from the devicetree bus node) and the sensor */
int spim_dppi_init(void);

/* Arm the repeated burst, connect DPPI, start the trigger. Returns errno. */
int spim_dppi_start(void);

/* Total SPIM transactions started since start (finished laps + DMA pointer) */
uint32_t spim_dppi_total_xfers(void);


/* One SENSOR_BURST_LEN-byte raw burst per message, in order */
extern struct k_msgq sample_q;
/* Samples that could not be queued because the queue was full */
uint32_t spim_dppi_dropped(void);
/* Wraps written after the next START had begun (that transaction's sample is skipped) */
uint32_t spim_dppi_late_wraps(void);
/* Laps in which the DMA reached the guard slots (ring too small for the drain period) */
uint32_t spim_dppi_overflows(void);
/* Per-sample mode: samples the next transaction overwrote during the copy (dropped) */
uint32_t spim_dppi_torn(void);

#endif /* SPIM_DPPI_H_ */
```
